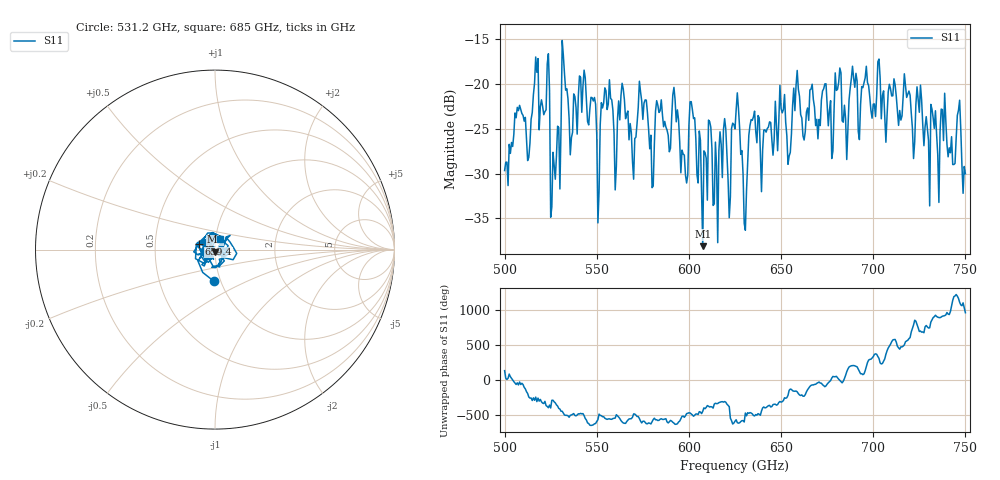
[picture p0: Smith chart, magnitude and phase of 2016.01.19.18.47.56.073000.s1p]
!Created with skrf (http://scikit-rf.org).
# GHz S RI R 50.0
!freq ReS11 ImS11
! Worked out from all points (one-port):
!   401 points, 500 GHz to 750 GHz, reference 50 ohm
!   lowest |S11| = -38.1 dB at 607.5 GHz (marker M1), VSWR 1.03, Z = 49.9 - j1.24 ohm
!   |S11| at or under -10 dB: start of sweep to end of sweep
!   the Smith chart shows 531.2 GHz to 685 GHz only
!   S11 on the Smith chart (normalised r, x): 531.2 GHz: 0.93, -0.33; 659.4 GHz: 0.84, +0.05; 685 GHz: 1.05, +0.12
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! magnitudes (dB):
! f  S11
! 500 GHz  -29.6
! 506.9 GHz  -22.6
! 513.1 GHz  -28.2
! 516.9 GHz  -17.0
! 523.1 GHz  -17.7
! 526.2 GHz  -27.6
! 531.2 GHz  -15.1
! 548.1 GHz  -21.9
! 550.6 GHz  -35.5
! 553.8 GHz  -22.1
! 562.5 GHz  -24.0
! 580 GHz  -31.6
! 583.8 GHz  -23.2
! 593.8 GHz  -22.9
! 598.1 GHz  -30.1
! 601.9 GHz  -22.8
! 607.5 GHz  -38.1
! 621.9 GHz  -34.9
! 625 GHz  -25.0
! 630.6 GHz  -36.3
! 634.4 GHz  -24.0
! 656.2 GHz  -22.4
! 659.4 GHz  -20.6
! 685 GHz  -23.8
! 687.5 GHz  -20.4
! 718.8 GHz  -21.1
! 746.2 GHz  -22.9
! 750 GHz  -30.0
